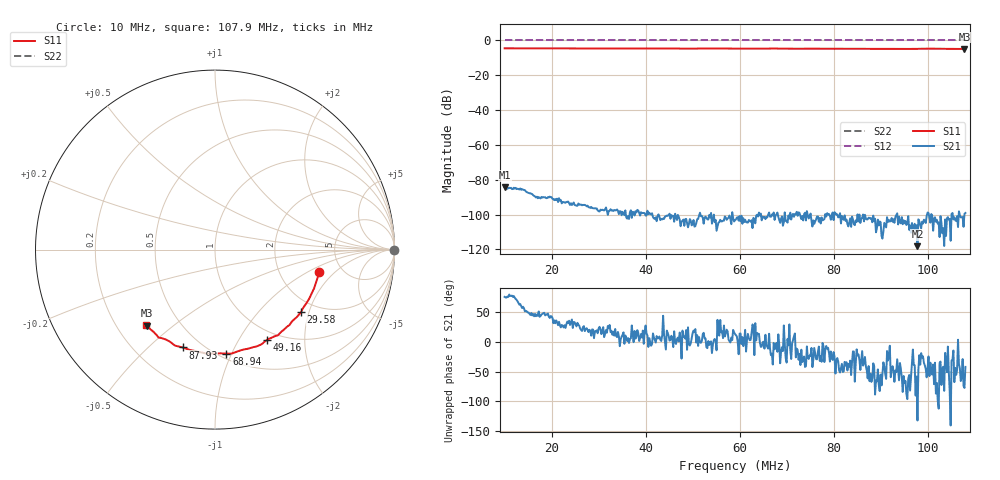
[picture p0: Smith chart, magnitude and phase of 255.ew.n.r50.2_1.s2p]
! Anritsu VNA Master:  Model: MS2036C/10/77
! SN:  1601066
! /card0/usr/255.ew.n.r50.2_1.s2p
! Existing Calibration Information:
! TYPE:  Current Settings,  Active Cal Settings
! TIME:  12/17/2017 06:55:53 PM,  12/17/2017 06:38:14 PM
! INTERNAL TEMP:  42.8 C,  43.8 C
! # POINTS:  501,  501
! START FREQ:  10.000 MHz,  10.000 MHz
! STOP FREQ:  107.903 125 MHz,  107.903 125 MHz
! SOURCE POWER:  High,  High
! IFBW:  100 Hz,  100 Hz
! AVG FACTOR:  1 ,  1
! REF PLANE 1:  0 mm,  0 mm
! REF PLANE 2:  0 mm,  0 mm
! CAL TYPE:  Full S11,  Full S11
! CAL METHOD:  SOLT,  SOLT
! CAL LINE TYPE:  Coax,  Coax
! DUT PORT 1:  N-Conn(F),  N-Conn(F)
! DUT PORT 2:  K-Conn(F),  K-Conn(F)
! CAL STATUS:  OK: Accuracy High,  --
# GHZ S DB R 50.0
! FREQ.GHZ  S11DB  S11A  S21DB  S21A  S12DB  S12A  S22DB  S22A
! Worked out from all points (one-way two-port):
!   501 points, 10 MHz to 107.9 MHz, reference 50 ohm
!   highest |S21| = -84.44 dB at 10 MHz (marker M1); lowest = -118.2 dB at 97.72 MHz (marker M2)
!   lowest |S11| = -4.9 dB at 107.7 MHz (marker M3), VSWR 3.65, Z = 16.2 - j20.3 ohm
!   |S11| at or under -10 dB: nowhere
!   |S22| runs from 0.0 to 0.0 dB; largest |S21 - S12| = 1
!   S11 on the Smith chart (normalised r, x): 10 MHz: 3.38, -1.31; 29.58 MHz: 1.65, -1.77; 49.16 MHz: 0.88, -1.33; 68.94 MHz: 0.54, -0.95; 87.93 MHz: 0.40, -0.64; 107.9 MHz: 0.32, -0.40
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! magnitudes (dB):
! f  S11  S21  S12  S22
! 10 MHz  -4.5  -84.4  0.0  0.0
! 26.45 MHz  -4.6  -94.7  0.0  0.0
! 29.58 MHz  -4.5  -96.5  0.0  0.0
! 35.06 MHz  -4.6  -98.4  0.0  0.0
! 42.7 MHz  -4.6  -99.9  0.0  0.0
! 44.46 MHz  -4.5  -100.6  0.0  0.0
! 49.16 MHz  -4.7  -105.4  0.0  0.0
! 52.29 MHz  -4.6  -105.2  0.0  0.0
! 59.15 MHz  -4.7  -102.8  0.0  0.0
! 61.69 MHz  -4.7  -104.6  0.0  0.0
! 66.39 MHz  -4.6  -101.2  0.0  0.0
! 68.94 MHz  -4.7  -101.1  0.0  0.0
! 71.87 MHz  -4.8  -99.9  0.0  0.0
! 75.4 MHz  -4.7  -106.9  0.0  0.0
! 87.93 MHz  -4.8  -102.1  0.0  0.0
! 91.65 MHz  -4.7  -103.1  0.0  0.0
! 94.98 MHz  -4.9  -105.0  0.0  0.0
! 97.72 MHz  -4.8  -118.2  0.0  0.0
! 99.88 MHz  -4.7  -98.8  0.0  0.0
! 103.4 MHz  -4.8  -118.1  0.0  0.0
! 107.7 MHz  -4.9  -99.6  0.0  0.0
! 107.9 MHz  -4.9  -99.1  0.0  0.0
